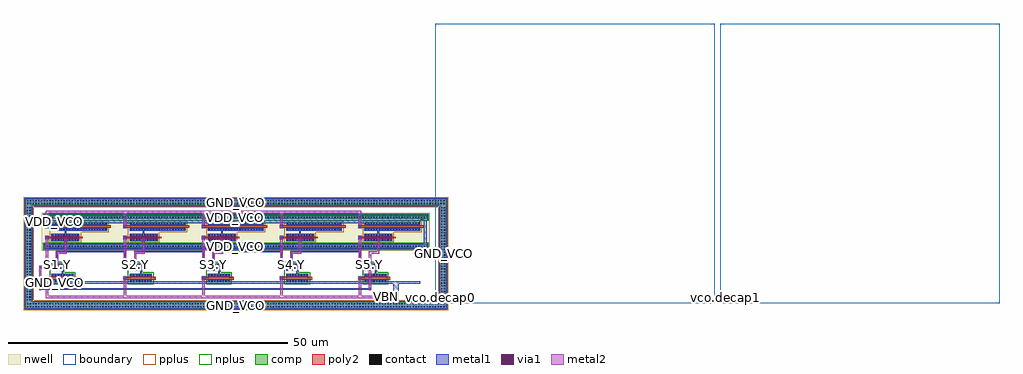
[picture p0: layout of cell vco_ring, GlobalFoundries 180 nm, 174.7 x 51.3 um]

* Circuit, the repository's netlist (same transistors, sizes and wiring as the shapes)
* Standalone LVS reference for vco_ring (issue #371).
*
* The 5-stage current-starved ring (vco.sch's XS1..XS5), chained
* Y_i -> A_(i+1) with the Y5 -> A1 wraparound, expressed against
* this block's own boundary nets. Every W/L traces to devices.py's
* STAGE_FETS (itself read off design/netlist/vco.spice).
*
* Run LVS with --lvs-sub=GND_VCO (this block's own substrate net --
* NOT layout/run_pv.py's own VSS default; see layout/README.md's
* "substrate-net gotcha").

.subckt vco_ring VBP VBN VDD_VCO GND_VCO Y1 Y2 Y3 Y4 Y5
M_S1_MPH VDD_VCO VBP S1_NH VDD_VCO pfet_03v3 W=10.0u L=0.5u
M_S1_MP S1_NH Y5 Y1 VDD_VCO pfet_03v3 W=5.0u L=0.28u
M_S1_MN Y1 Y5 S1_NT GND_VCO nfet_03v3 W=2.0u L=0.28u
M_S1_MNT S1_NT VBN GND_VCO GND_VCO nfet_03v3 W=4.0u L=0.5u
M_S2_MPH VDD_VCO VBP S2_NH VDD_VCO pfet_03v3 W=10.0u L=0.5u
M_S2_MP S2_NH Y1 Y2 VDD_VCO pfet_03v3 W=5.0u L=0.28u
M_S2_MN Y2 Y1 S2_NT GND_VCO nfet_03v3 W=2.0u L=0.28u
M_S2_MNT S2_NT VBN GND_VCO GND_VCO nfet_03v3 W=4.0u L=0.5u
M_S3_MPH VDD_VCO VBP S3_NH VDD_VCO pfet_03v3 W=10.0u L=0.5u
M_S3_MP S3_NH Y2 Y3 VDD_VCO pfet_03v3 W=5.0u L=0.28u
M_S3_MN Y3 Y2 S3_NT GND_VCO nfet_03v3 W=2.0u L=0.28u
M_S3_MNT S3_NT VBN GND_VCO GND_VCO nfet_03v3 W=4.0u L=0.5u
M_S4_MPH VDD_VCO VBP S4_NH VDD_VCO pfet_03v3 W=10.0u L=0.5u
M_S4_MP S4_NH Y3 Y4 VDD_VCO pfet_03v3 W=5.0u L=0.28u
M_S4_MN Y4 Y3 S4_NT GND_VCO nfet_03v3 W=2.0u L=0.28u
M_S4_MNT S4_NT VBN GND_VCO GND_VCO nfet_03v3 W=4.0u L=0.5u
M_S5_MPH VDD_VCO VBP S5_NH VDD_VCO pfet_03v3 W=10.0u L=0.5u
M_S5_MP S5_NH Y4 Y5 VDD_VCO pfet_03v3 W=5.0u L=0.28u
M_S5_MN Y5 Y4 S5_NT GND_VCO nfet_03v3 W=2.0u L=0.28u
M_S5_MNT S5_NT VBN GND_VCO GND_VCO nfet_03v3 W=4.0u L=0.5u
.ends

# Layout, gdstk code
import gdstk
lib = gdstk.Library(unit=1e-6, precision=1e-09)
def R(c, l, rs):  # rectangles x0, y0, x1, y1
    for r in rs: c.add(gdstk.rectangle(r[:2], r[2:], *l))
def A(c, l, x, y, w, h, nx, ny, dx, dy):  # array of equal rectangles
    R(c, l, [(x+i*dx, y+j*dy, x+i*dx+w, y+j*dy+h) for i in range(nx) for j in range(ny)])
boundary = (0, 0)
nwell = (21, 0)
comp = (22, 0)
poly2 = (30, 0)
pplus = (31, 0)
nplus = (32, 0)
contact = (33, 0)
metal1 = (34, 0)
via1 = (35, 0)
metal2 = (36, 0)

vco_ring = lib.new_cell('vco_ring')
R(vco_ring, boundary, [(68.7,-3.7,118.7,46.3), (119.7,-3.7,169.7,46.3)])
R(vco_ring, nwell, [(-1.7,5.68,67.7,12.46)])
A(vco_ring, comp, 0, 0, 4, 1.5, 5, 1, 14, 0)
A(vco_ring, comp, 0, 2.1, 2, 1.28, 5, 1, 14, 0)
A(vco_ring, comp, 0, 7.38, 5, 1.28, 5, 1, 14, 0)
A(vco_ring, comp, 0, 9.26, 10, 1.5, 5, 1, 14, 0)
R(vco_ring, comp, [(-4.7,-4.7,70.7,-3.5), (-4.7,-3.5,-3.5,13.76), (69.5,-3.5,70.7,13.76), (-1.2,6.18,67.2,6.78), (-1.2,11.36,67.2,11.96), (-4.7,13.76,70.7,14.96)])
A(vco_ring, poly2, -0.65, 0.5, 5.3, 0.5, 5, 1, 14, 0)
A(vco_ring, poly2, -1, 0.55, 0.4, 0.4, 5, 2, 14, 1.99)
A(vco_ring, poly2, -0.65, 2.6, 3.3, 0.28, 5, 1, 14, 0)
A(vco_ring, poly2, -1, 7.82, 0.4, 0.4, 5, 2, 14, 1.99)
A(vco_ring, poly2, -0.65, 7.88, 6.3, 0.28, 5, 1, 14, 0)
A(vco_ring, poly2, -0.65, 9.76, 11.3, 0.5, 5, 1, 14, 0)
A(vco_ring, pplus, -0.3, 7.08, 5.6, 1.88, 5, 1, 14, 0)
A(vco_ring, pplus, -0.3, 8.96, 10.6, 2.1, 5, 1, 14, 0)
R(vco_ring, pplus, [(-5,-5,71,-3.2), (-5,-3.8,-3.2,14.06), (69.2,-3.8,71,14.06), (-5,13.46,71,15.26)])
A(vco_ring, nplus, -0.3, -0.3, 4.6, 2.1, 5, 1, 14, 0)
A(vco_ring, nplus, -0.3, 1.8, 2.6, 1.88, 5, 1, 14, 0)
R(vco_ring, nplus, [(-1.5,5.88,67.5,7.08), (-1.5,11.06,67.5,12.26)])
A(vco_ring, contact, -4.36, -4.46, 0.22, 0.22, 150, 2, 0.5, 0.5)
A(vco_ring, contact, -4.46, -3.23, 0.22, 0.22, 1, 34, 0, 0.5)
A(vco_ring, contact, -3.96, -3.23, 0.22, 0.22, 1, 34, 0, 0.5)
A(vco_ring, contact, 69.74, -3.23, 0.22, 0.22, 1, 34, 0, 0.5)
A(vco_ring, contact, 70.24, -3.23, 0.22, 0.22, 1, 34, 0, 0.5)
A(vco_ring, contact, 0.14, 0.1, 0.22, 0.22, 8, 2, 0.5, 1.08)
A(vco_ring, contact, 14.14, 0.1, 0.22, 0.22, 8, 2, 0.5, 1.08)
A(vco_ring, contact, 28.14, 0.1, 0.22, 0.22, 8, 2, 0.5, 1.08)
A(vco_ring, contact, 42.14, 0.1, 0.22, 0.22, 8, 2, 0.5, 1.08)
A(vco_ring, contact, 56.14, 0.1, 0.22, 0.22, 8, 2, 0.5, 1.08)
A(vco_ring, contact, -0.91, 0.64, 0.22, 0.22, 5, 2, 14, 1.99)
A(vco_ring, contact, 0.14, 2.2, 0.22, 0.22, 4, 2, 0.5, 0.86)
A(vco_ring, contact, 14.14, 2.2, 0.22, 0.22, 4, 2, 0.5, 0.86)
A(vco_ring, contact, 28.14, 2.2, 0.22, 0.22, 4, 2, 0.5, 0.86)
A(vco_ring, contact, 42.14, 2.2, 0.22, 0.22, 4, 2, 0.5, 0.86)
A(vco_ring, contact, 56.14, 2.2, 0.22, 0.22, 4, 2, 0.5, 0.86)
A(vco_ring, contact, -0.86, 6.37, 0.22, 0.22, 136, 2, 0.5, 5.18)
A(vco_ring, contact, 0.14, 7.48, 0.22, 0.22, 10, 2, 0.5, 0.86)
A(vco_ring, contact, 14.14, 7.48, 0.22, 0.22, 10, 2, 0.5, 0.86)
A(vco_ring, contact, 28.14, 7.48, 0.22, 0.22, 10, 2, 0.5, 0.86)
A(vco_ring, contact, 42.14, 7.48, 0.22, 0.22, 10, 2, 0.5, 0.86)
A(vco_ring, contact, 56.14, 7.48, 0.22, 0.22, 10, 2, 0.5, 0.86)
A(vco_ring, contact, -0.91, 7.91, 0.22, 0.22, 5, 2, 14, 1.99)
A(vco_ring, contact, 0.14, 9.36, 0.22, 0.22, 20, 2, 0.5, 1.08)
A(vco_ring, contact, 14.14, 9.36, 0.22, 0.22, 20, 2, 0.5, 1.08)
A(vco_ring, contact, 28.14, 9.36, 0.22, 0.22, 20, 2, 0.5, 1.08)
A(vco_ring, contact, 42.14, 9.36, 0.22, 0.22, 20, 2, 0.5, 1.08)
A(vco_ring, contact, 56.14, 9.36, 0.22, 0.22, 20, 2, 0.5, 1.08)
A(vco_ring, contact, -4.36, 14, 0.22, 0.22, 150, 2, 0.5, 0.5)
A(vco_ring, metal1, 0.02, -0.02, 3.96, 0.46, 5, 2, 14, 1.08)
A(vco_ring, metal1, -1.12, 0.43, 0.64, 0.64, 5, 2, 14, 1.99)
A(vco_ring, metal1, -1.02, 0.53, 0.44, 0.44, 5, 2, 14, 1.99)
A(vco_ring, metal1, 1.86, 1.06, 0.28, 1.48, 5, 1, 14, 0)
A(vco_ring, metal1, 0.02, 2.08, 1.96, 0.46, 5, 2, 14, 0.86)
A(vco_ring, metal1, 0.78, 2.95, 0.44, 0.44, 5, 1, 14, 0)
A(vco_ring, metal1, 13.06, 3.06, 0.28, 2.49, 4, 1, 14, 0)
A(vco_ring, metal1, 0.86, 3.4, 0.28, 2.15, 4, 1, 14, 0)
A(vco_ring, metal1, 0.86, 5.41, 12.48, 0.28, 4, 1, 14, 0)
A(vco_ring, metal1, 0.02, 7.36, 4.96, 0.46, 5, 2, 14, 0.86)
A(vco_ring, metal1, 2.28, 7.37, 0.44, 0.44, 5, 1, 14, 0)
A(vco_ring, metal1, -1.12, 7.7, 0.64, 0.64, 5, 2, 14, 1.99)
A(vco_ring, metal1, -1.02, 7.8, 0.44, 0.44, 5, 2, 14, 1.99)
A(vco_ring, metal1, 2.36, 8.68, 0.28, 0.56, 5, 1, 14, 0)
A(vco_ring, metal1, 0.02, 9.24, 9.96, 0.46, 5, 2, 14, 1.08)
R(vco_ring, metal1, [(-4.82,-4.82,70.82,-3.38), (-4.82,-3.62,-3.38,13.88), (69.38,-3.62,70.82,13.88), (61.18,-3.5,62.18,-0.26), (-2.22,-1.42,-1.78,-0.98), (56.78,-1.42,57.22,-0.98), (-2.14,-1.34,57.14,-1.06), (0,-0.26,66,0.2), (-2.22,2.52,-1.78,2.96), (-1.02,2.52,-0.58,2.96), (56.78,2.95,57.22,3.39), (-1.32,6.06,67.32,6.9), (66.6,6.78,67.2,11.36), (0,10.56,66,11.36), (-1.32,11.24,67.32,12.08), (-4.82,13.64,70.82,15.08)])
A(vco_ring, via1, -0.93, 0.62, 0.26, 0.26, 5, 2, 14, 1.99)
A(vco_ring, via1, 0.87, 3.04, 0.26, 0.26, 5, 1, 14, 0)
A(vco_ring, via1, 2.37, 7.46, 0.26, 0.26, 5, 1, 14, 0)
A(vco_ring, via1, -0.93, 7.89, 0.26, 0.26, 5, 2, 14, 1.99)
R(vco_ring, via1, [(-2.13,-1.33,-1.87,-1.07), (56.87,-1.33,57.13,-1.07), (-2.13,2.61,-1.87,2.87), (-0.93,2.61,-0.67,2.87), (56.87,3.04,57.13,3.3)])
A(vco_ring, metal2, -1.02, -2.82, 0.44, 3.79, 5, 1, 14, 0)
A(vco_ring, metal2, -1.02, 0.53, 0.44, 0.44, 5, 2, 14, 1.99)
A(vco_ring, metal2, -1.02, 2.52, 0.44, 5.72, 5, 1, 14, 0)
A(vco_ring, metal2, 0.78, 2.95, 0.44, 0.44, 5, 1, 14, 0)
A(vco_ring, metal2, 0.78, 2.95, 0.44, 2.65, 5, 1, 14, 0)
A(vco_ring, metal2, 0.78, 5.16, 1.94, 0.44, 5, 1, 14, 0)
A(vco_ring, metal2, 2.28, 5.16, 0.44, 2.65, 5, 1, 14, 0)
A(vco_ring, metal2, 2.28, 7.37, 0.44, 0.44, 5, 1, 14, 0)
A(vco_ring, metal2, -1.02, 7.8, 0.44, 0.44, 5, 2, 14, 1.99)
A(vco_ring, metal2, -1.02, 9.79, 0.44, 2.99, 5, 1, 14, 0)
R(vco_ring, metal2, [(-1.02,-2.82,60.22,-2.38), (-2.22,-1.42,-1.78,-0.98), (-2.22,-1.42,-1.78,2.96), (56.78,-1.42,57.22,-0.98), (56.78,-1.42,57.22,3.39), (-2.22,2.52,-1.78,2.96), (-2.22,2.52,-0.58,2.96), (-1.02,2.52,-0.58,2.96), (56.78,2.95,57.22,3.39), (-1.02,12.34,55.42,12.78)])
vco_ring.add(gdstk.Label('S1.Y', (1,3.17), layer=34, texttype=10))
vco_ring.add(gdstk.Label('S2.Y', (15,3.17), layer=34, texttype=10))
vco_ring.add(gdstk.Label('S3.Y', (29,3.17), layer=34, texttype=10))
vco_ring.add(gdstk.Label('S4.Y', (43,3.17), layer=34, texttype=10))
vco_ring.add(gdstk.Label('S5.Y', (57,3.17), layer=34, texttype=10))
vco_ring.add(gdstk.Label('Y1', (1,3.17), layer=34, texttype=10))
vco_ring.add(gdstk.Label('Y2', (15,3.17), layer=34, texttype=10))
vco_ring.add(gdstk.Label('Y3', (29,3.17), layer=34, texttype=10))
vco_ring.add(gdstk.Label('Y4', (43,3.17), layer=34, texttype=10))
vco_ring.add(gdstk.Label('Y5', (57,3.17), layer=34, texttype=10))
vco_ring.add(gdstk.Label('VDD_VCO', (0.5,10.96), layer=34, texttype=10))
vco_ring.add(gdstk.Label('GND_VCO', (0.5,-0.03), layer=34, texttype=10))
vco_ring.add(gdstk.Label('Y5_CLK_IN', (57,3.17), layer=34, texttype=10))
vco_ring.add(gdstk.Label('GND_VCO', (33,14.36), layer=34, texttype=10))
vco_ring.add(gdstk.Label('GND_VCO', (33,-4.1), layer=34, texttype=10))
vco_ring.add(gdstk.Label('GND_VCO', (-4.1,5.13), layer=34, texttype=10))
vco_ring.add(gdstk.Label('GND_VCO', (70.1,5.13), layer=34, texttype=10))
vco_ring.add(gdstk.Label('VDD_VCO', (33,11.66), layer=34, texttype=10))
vco_ring.add(gdstk.Label('VDD_VCO', (33,6.48), layer=34, texttype=10))
vco_ring.add(gdstk.Label('VBP', (-0.62,12.56), layer=36, texttype=10))
vco_ring.add(gdstk.Label('VBN', (60,-2.6), layer=36, texttype=10))
vco_ring.add(gdstk.Label('vco.decap0', (69.7,-2.7), layer=0, texttype=0))
vco_ring.add(gdstk.Label('vco.decap1', (120.7,-2.7), layer=0, texttype=0))

lib.write_gds('vco_ring.gds')
